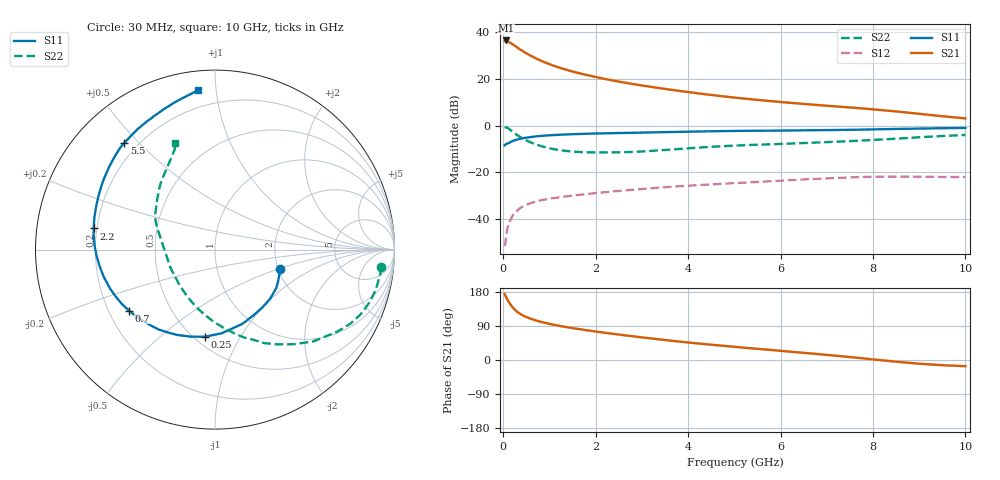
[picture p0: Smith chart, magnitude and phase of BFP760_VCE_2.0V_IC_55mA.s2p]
! Infineon Technologies  Discrete & RF Semiconductors
! BFP760
! VCE =  2.0 V,  IC =  55 mA
! Common Emitter S-Parameters:  Nov 2012
# GHz  S  MA  R  50
!  f  S11  S21  S12  S22
! GHz  MAG  ANG  MAG  ANG  MAG  ANG  MAG  ANG
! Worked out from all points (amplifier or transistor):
!   99 points, 30 MHz to 10 GHz, reference 50 ohm
!   highest |S21| = 36.6 dB at 60 MHz (marker M1)
!   |S21| within 3 dB of that: start of sweep to 303.8 MHz
!   unconditionally stable (mu >= 1): 3.338 GHz to end of sweep
!   at 350 MHz: K = 0.39, MSG = 34.3 dB, |S12| = -35.7 dB
!   at 3.5 GHz: K = 1.01, MAG = 20.5 dB, |S12| = -26.4 dB
!   at 10 GHz: K = 1.06, MAG = 11.1 dB, |S12| = -22.0 dB
!   S11 on the Smith chart (normalised r, x): 30 MHz: 2.05, -0.53; 250 MHz: 0.56, -0.72; 700 MHz: 0.28, -0.30; 2.2 GHz: 0.19, +0.08; 5.5 GHz: 0.15, +0.45; 10 GHz: 0.10, +0.90
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0.03  0.3796 -16.8  65.18 174.3  0.0026 87.1  0.9314 -6.0
0.05  0.3942 -27.1  67.4 169.1  0.0032 74.2  0.9254 -11.5
0.06  0.4028 -32.1  67.45 166.7  0.0046 84.7  0.9237 -13.9
0.08  0.4115 -42.0  66.58 161.7  0.0055 77.3  0.9084 -18.9
0.1  0.4168 -51.3  64.35 157.2  0.0067 73.8  0.8884 -23.8
0.15  0.4414 -70.3  60.49 147.7  0.0091 69.5  0.8162 -34.4
0.2  0.4676 -85.3  55.93 139.5  0.0116 63.8  0.7488 -43.1
0.25  0.4884 -96.5  52.2 132.9  0.0135 59.1  0.6851 -50.3
0.35  0.5197 -113.7  44.07 123.1  0.0165 54.9  0.5882 -62.3
0.45  0.5447 -125.2  38.15 116.1  0.019 50.3  0.5151 -71.8
0.6  0.5719 -137.9  31.54 108.6  0.0219 47.2  0.4353 -84.3
0.7  0.5877 -144.6  28.01 104.6  0.0235 45.0  0.3988 -91.7
0.9  0.6126 -155.0  22.89 98.1  0.0259 42.1  0.3462 -104.9
1.1  0.6304 -163.1  19.26 92.8  0.028 40.8  0.3129 -116.3
1.7  0.6664 -179.9  12.96 80.5  0.0333 39.1  0.2705 -142.6
2.2  0.6858 170.1  10.06 71.9  0.0373 38.9  0.2675 -158.7
3.4  0.724 151.2  6.363 54.1  0.047 37.2  0.2967 172.8
5.1  0.7738 133.3  3.923 33.8  0.0593 33.0  0.3772 151.9
5.5  0.7798 130.4  3.578 29.5  0.0621 31.9  0.3902 148.4
6.7  0.799 122.2  2.828 16.9  0.0717 27.5  0.4321 137.9
8.5  0.8515 105.1  2.023 -4.5  0.081 15.7  0.5264 120.7
10  0.8949 95.9  1.435 -16.4  0.0792 10.4  0.6332 110.4
